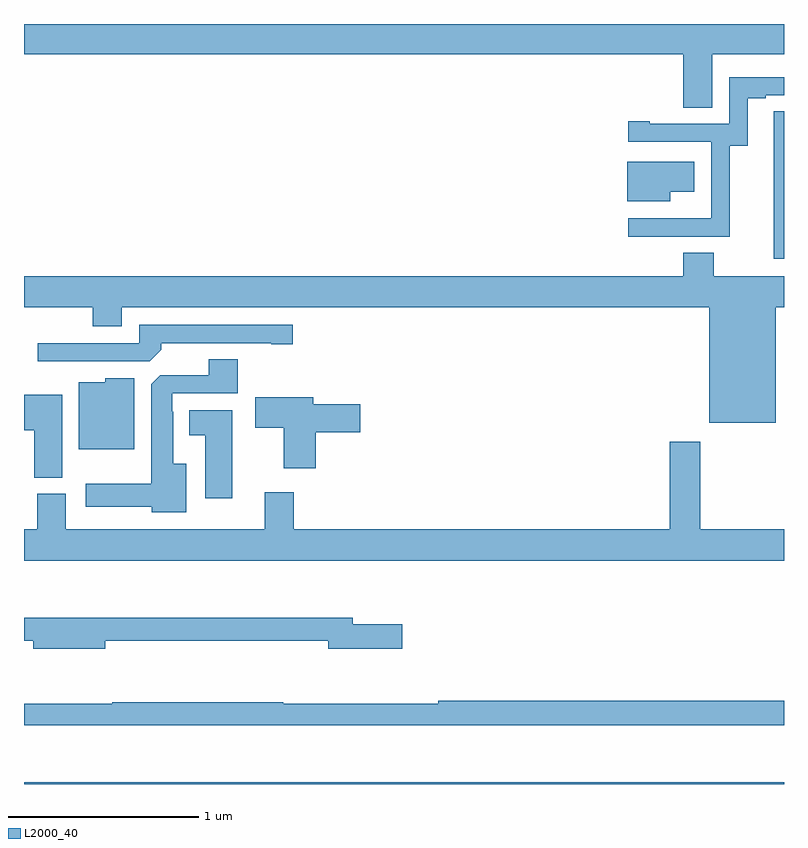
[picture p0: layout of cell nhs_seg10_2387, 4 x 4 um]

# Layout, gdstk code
import gdstk
lib = gdstk.Library(unit=1e-6, precision=1e-09)
def R(c, l, rs):  # rectangles x0, y0, x1, y1
    for r in rs: c.add(gdstk.rectangle(r[:2], r[2:], *l))
def P(c, l, *ps):  # polygons
    for p in ps: c.add(gdstk.Polygon(p, *l))
L2000_40 = (2000, 40)

nhs_seg10_2387 = lib.new_cell('nhs_seg10_2387')
R(nhs_seg10_2387, L2000_40, [(239,1272.5,243,1272.508)])
P(nhs_seg10_2387, L2000_40, [(242.623,1276.34),(243,1276.34),(243,1276.5),(239,1276.5),(239,1276.34),(242.471,1276.34),(242.471,1276.06),(242.623,1276.06)],
  [(242.715,1275.859),(242.809,1275.859),(242.809,1276.11),(242.905,1276.11),(242.905,1276.125),(243,1276.125),(243,1276.221),(242.712,1276.221),(242.712,1275.975),(242.293,1275.975),(242.293,1275.988),(242.181,1275.988),(242.181,1275.879),(242.616,1275.879),(242.616,1275.478),(242.615,1275.478),(242.615,1275.477),(242.181,1275.477),(242.181,1275.381),(242.715,1275.381)],
  [(243,1276.04),(242.946,1276.04),(242.946,1275.932),(242.945,1275.932),(242.945,1275.264),(243,1275.264)],
  [(242.401,1275.617),(242.527,1275.617),(242.527,1275.775),(242.174,1275.775),(242.174,1275.566),(242.401,1275.566)],
  [(242.956,1275.008),(243,1275.008),(243,1275.172),(242.631,1275.172),(242.631,1275.296),(242.471,1275.296),(242.471,1275.172),(239,1275.172),(239,1275.008),(239.363,1275.008),(239.363,1274.909),(239.515,1274.909),(239.515,1275.008),(242.606,1275.008),(242.606,1274.402),(242.956,1274.402)],
  [(239.723,1274.786),(239.723,1274.82),(240.302,1274.82),(240.302,1274.815),(240.415,1274.815),(240.415,1274.916),(239.607,1274.916),(239.607,1274.82),(239.073,1274.82),(239.073,1274.724),(239.661,1274.724)],
  [(239.854,1274.185),(239.785,1274.185),(239.785,1274.459),(239.781,1274.459),(239.781,1274.556),(240.125,1274.556),(240.125,1274.735),(239.972,1274.735),(239.972,1274.652),(239.718,1274.652),(239.669,1274.603),(239.669,1274.08),(239.325,1274.08),(239.325,1273.958),(239.673,1273.958),(239.673,1273.931),(239.854,1273.931)],
  [(239.581,1274.635),(239.427,1274.635),(239.427,1274.614),(239.288,1274.614),(239.288,1274.261),(239.581,1274.261)],
  [(239.2,1274.548),(239,1274.548),(239,1274.363),(239.054,1274.363),(239.054,1274.113),(239.2,1274.113)],
  [(240.536,1274.351),(240.769,1274.351),(240.769,1274.498),(240.523,1274.498),(240.523,1274.536),(240.216,1274.536),(240.216,1274.374),(240.368,1274.374),(240.368,1274.163),(240.536,1274.163)],
  [(240.097,1274.467),(239.87,1274.467),(239.87,1274.336),(239.954,1274.336),(239.954,1274.004),(240.097,1274.004)],
  [(240.266,1274.035),(240.266,1273.84),(239.221,1273.84),(239.221,1274.028),(239.069,1274.028),(239.069,1273.84),(239,1273.84),(239,1273.676),(243,1273.676),(243,1273.84),(242.559,1273.84),(242.559,1274.302),(242.399,1274.302),(242.399,1273.84),(240.419,1273.84),(240.419,1274.035)],
  [(239.428,1273.254),(240.602,1273.254),(240.602,1273.211),(240.991,1273.211),(240.991,1273.341),(240.73,1273.341),(240.73,1273.375),(239,1273.375),(239,1273.254),(239.048,1273.254),(239.048,1273.211),(239.428,1273.211)],
  [(243,1272.938),(241.181,1272.938),(241.181,1272.923),(240.365,1272.923),(240.365,1272.931),(239.465,1272.931),(239.465,1272.923),(239,1272.923),(239,1272.81),(243,1272.81)])

lib.write_gds('nhs_seg10_2387.gds')
